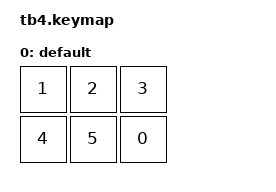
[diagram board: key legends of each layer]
/*
 * Manufacture : 2026 Zerotype
 * Copyright (c) 2024 The ZMK Contributors
 * SPDX-License-Identifier: MIT
 */

#include <behaviors.dtsi>
#include <dt-bindings/zmk/keys.h>
#include <dt-bindings/zmk/outputs.h>
#include <dt-bindings/zmk/bt.h>

/* 
#include <dt-bindings/zmk/rgb.h>
*/


#define TIMEOUT 300


/ {

    keymap: keymap {
        compatible = "zmk,keymap";

        default_layer {
            display-name = "default";
            bindings = <
                            &kp 1       &kp 2          &kp 3
                            &kp 4       &kp 5          &kp 0
            >;

        };

        };
};


